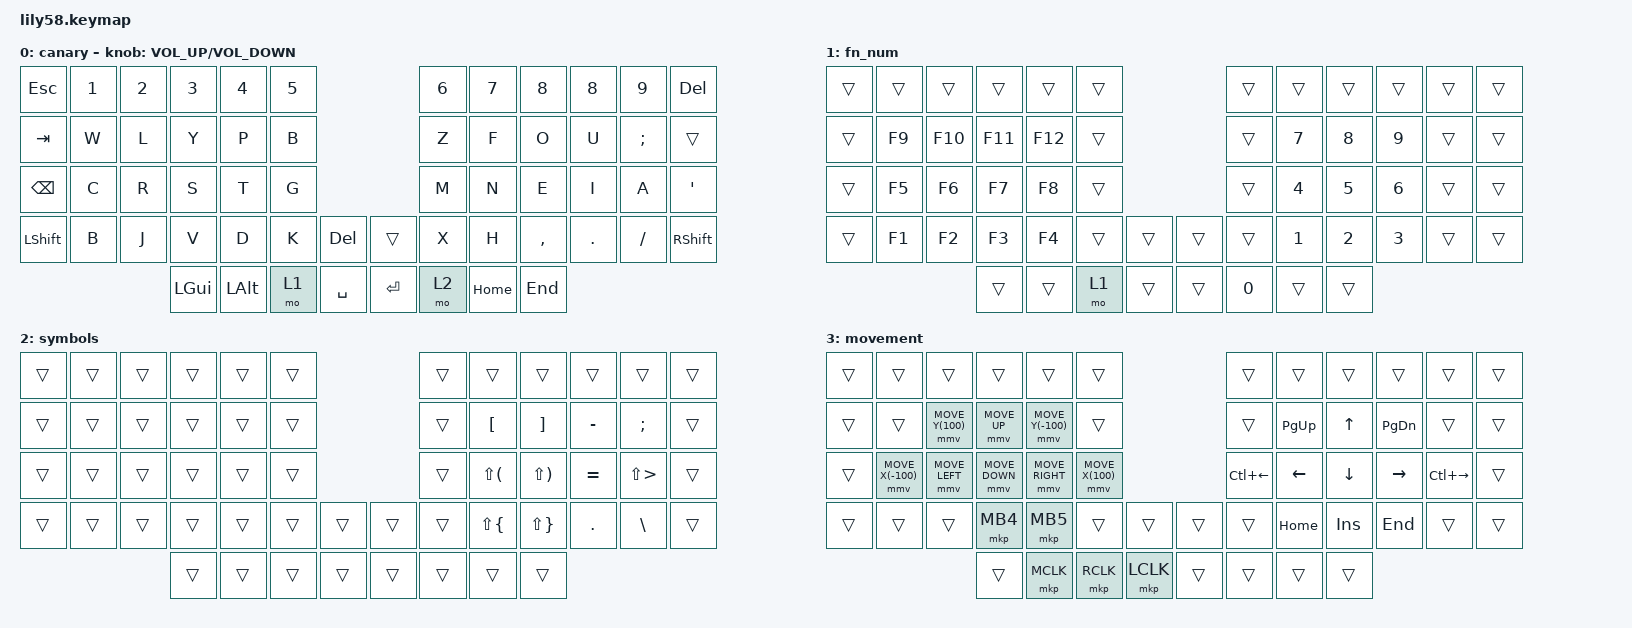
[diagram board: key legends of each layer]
/*
 * Copyright (c) 2020 The ZMK Contributors
 *
 * SPDX-License-Identifier: MIT
 */

#include <behaviors.dtsi>
#include <dt-bindings/zmk/keys.h>
#include <dt-bindings/zmk/bt.h>
#include <dt-bindings/zmk/ext_power.h>
#include <dt-bindings/zmk/pointing.h>

/ {
    combos {
        compatible = "zmk,combos";

        capslock {
            bindings = <&kp CAPS>;
            key-positions = <36 49>;
            layers = <0>;
        };
    };

    keymap {
        compatible = "zmk,keymap";

        canary {
            bindings = <
&kp ESC    &kp N1  &kp N2  &kp N3    &kp N4    &kp N5                        &kp N6  &kp N7    &kp N8     &kp N8   &kp N9    &kp DEL
&kp TAB    &kp W   &kp L   &kp Y     &kp P     &kp B                         &kp Z   &kp F     &kp O      &kp U    &kp SEMI  &trans
&kp BSPC   &kp C   &kp R   &kp S     &kp T     &kp G                         &kp M   &kp N     &kp E      &kp I    &kp A     &kp SQT
&kp LSHFT  &kp B   &kp J   &kp V     &kp D     &kp K   &kp DEL      &trans   &kp X   &kp H     &kp COMMA  &kp DOT  &kp FSLH  &kp RSHFT
                           &kp LGUI  &kp LALT  &mo 1   &kp SPACE    &kp RET  &mo 2   &kp HOME  &kp END
            >;

            sensor-bindings = <&inc_dec_kp C_VOLUME_UP C_VOLUME_DOWN>;
        };

        fn_num {
            bindings = <
&trans  &trans  &trans   &trans   &trans   &trans                    &trans  &trans  &trans  &trans  &trans  &trans
&trans  &kp F9  &kp F10  &kp F11  &kp F12  &trans                    &trans  &kp N7  &kp N8  &kp N9  &trans  &trans
&trans  &kp F5  &kp F6   &kp F7   &kp F8   &trans                    &trans  &kp N4  &kp N5  &kp N6  &trans  &trans
&trans  &kp F1  &kp F2   &kp F3   &kp F4   &trans  &trans    &trans  &trans  &kp N1  &kp N2  &kp N3  &trans  &trans
                         &trans   &trans   &mo 1   &trans    &trans  &kp N0  &trans  &trans
            >;
        };

        symbols {
            bindings = <
&trans  &trans  &trans  &trans  &trans  &trans                    &trans  &trans        &trans        &trans     &trans      &trans
&trans  &trans  &trans  &trans  &trans  &trans                    &trans  &kp LBKT      &kp RBKT      &kp MINUS  &kp SEMI    &trans
&trans  &trans  &trans  &trans  &trans  &trans                    &trans  &kp LS(LPAR)  &kp LS(RPAR)  &kp EQUAL  &kp LS(GT)  &trans
&trans  &trans  &trans  &trans  &trans  &trans  &trans    &trans  &trans  &kp LS(LBRC)  &kp LS(RBRC)  &kp DOT    &kp BSLH    &trans
                        &trans  &trans  &trans  &trans    &trans  &trans  &trans        &trans
            >;
        };

        movement {
            bindings = <
&trans  &trans             &trans            &trans          &trans             &trans                                 &trans        &trans     &trans      &trans     &trans         &trans
&trans  &trans             &mmv MOVE_Y(100)  &mmv MOVE_UP    &mmv MOVE_Y(-100)  &trans                                 &trans        &kp PG_UP  &kp UP      &kp PG_DN  &trans         &trans
&trans  &mmv MOVE_X(-100)  &mmv MOVE_LEFT    &mmv MOVE_DOWN  &mmv MOVE_RIGHT    &mmv MOVE_X(100)                       &kp LC(LEFT)  &kp LEFT   &kp DOWN    &kp RIGHT  &kp LC(RIGHT)  &trans
&trans  &trans             &trans            &mkp MB4        &mkp MB5           &trans            &trans       &trans  &trans        &kp HOME   &kp INSERT  &kp END    &trans         &trans
                                             &trans          &mkp MCLK          &mkp RCLK         &mkp LCLK    &trans  &trans        &trans     &trans
            >;
        };
    };
};
